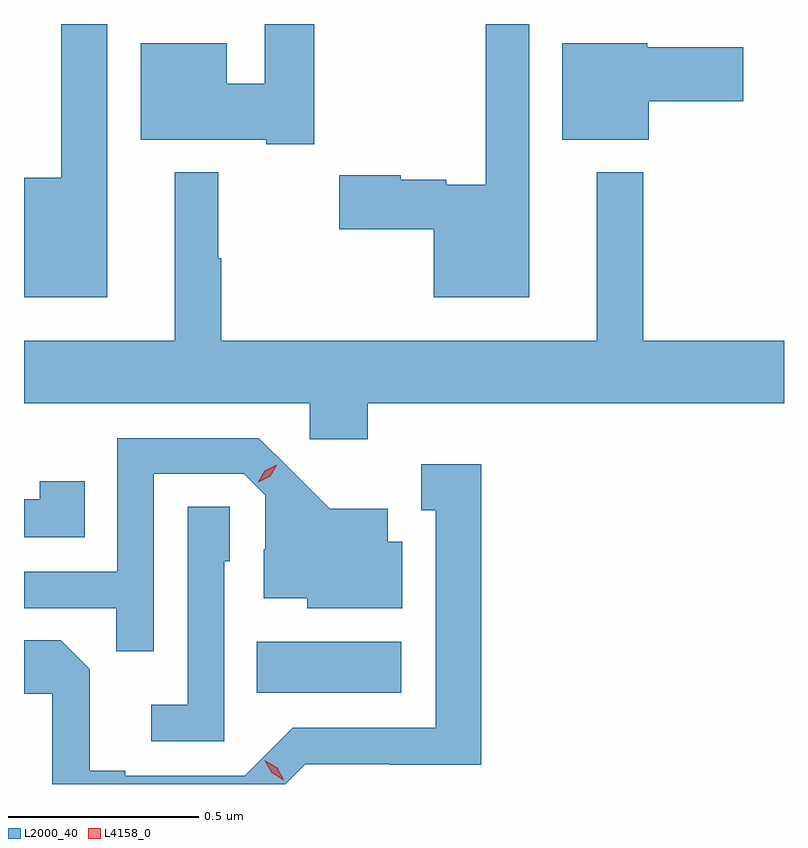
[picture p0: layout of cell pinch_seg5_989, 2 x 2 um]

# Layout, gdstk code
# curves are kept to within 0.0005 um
import gdstk
lib = gdstk.Library(unit=1e-6, precision=1e-09)
def R(c, l, rs):  # rectangles x0, y0, x1, y1
    for r in rs: c.add(gdstk.rectangle(r[:2], r[2:], *l))
def P(c, l, *ps):  # polygons
    for p in ps: c.add(gdstk.Polygon(p, *l))
L2000_40 = (2000, 40)
L4158_0 = (4158, 0)

pinch_seg5_989 = lib.new_cell('pinch_seg5_989')
R(pinch_seg5_989, L2000_40, [(699.472,913.274,699.853,913.408)])
P(pinch_seg5_989, L2000_40, [(699.079,915.034),(698.958,915.034),(698.958,914.63),(698.86,914.63),(698.86,914.315),(699.079,914.315)],
  [(699.624,915.034),(699.494,915.034),(699.494,914.877),(699.394,914.877),(699.394,914.983),(699.167,914.983),(699.167,914.729),(699.498,914.729),(699.498,914.717),(699.624,914.717)],
  [(700.189,915.034),(700.075,915.034),(700.075,914.611),(699.971,914.611),(699.971,914.624),(699.852,914.624),(699.852,914.636),(699.69,914.636),(699.69,914.494),(699.938,914.494),(699.938,914.315),(700.189,914.315)],
  [(700.504,914.831),(700.753,914.831),(700.753,914.973),(700.5,914.973),(700.5,914.983),(700.277,914.983),(700.277,914.729),(700.504,914.729)],
  [(699.764,914.036),(700.86,914.036),(700.86,914.2),(700.489,914.2),(700.489,914.644),(700.367,914.644),(700.367,914.2),(699.379,914.2),(699.379,914.417),(699.371,914.417),(699.371,914.644),(699.257,914.644),(699.257,914.2),(698.86,914.2),(698.86,914.036),(699.612,914.036),(699.612,913.941),(699.764,913.941)],
  [(699.201,913.851),(699.438,913.851),(699.495,913.794),(699.495,913.652),(699.491,913.652),(699.491,913.523),(699.606,913.523),(699.606,913.496),(699.856,913.496),(699.856,913.672),(699.817,913.672),(699.817,913.759),(699.665,913.759),(699.478,913.944),(699.105,913.944),(699.105,913.593),(698.86,913.593),(698.86,913.497),(699.103,913.497),(699.103,913.384),(699.201,913.384)],
  [(699.6,913.086),(699.822,913.086),(699.822,913.085),(700.063,913.085),(700.063,913.876),(699.905,913.876),(699.905,913.755),(699.944,913.755),(699.944,913.182),(699.567,913.182),(699.441,913.056),(699.127,913.056),(699.127,913.069),(699.033,913.069),(699.033,913.336),(698.957,913.412),(698.86,913.412),(698.86,913.272),(698.934,913.272),(698.934,913.034),(699.548,913.034)],
  [(699.02,913.831),(698.902,913.831),(698.902,913.784),(698.86,913.784),(698.86,913.683),(699.02,913.683)],
  [(699.387,913.62),(699.402,913.62),(699.402,913.763),(699.291,913.763),(699.291,913.243),(699.195,913.243),(699.195,913.146),(699.387,913.146)])
P(pinch_seg5_989, L4158_0, [(699.543,913.044),(699.512,913.063),(699.494,913.095),(699.494,913.096),(699.494,913.096),(699.526,913.077),(699.544,913.045),(699.544,913.044)],
  [(699.477,913.828),(699.477,913.829),(699.494,913.858),(699.525,913.874),(699.525,913.874),(699.525,913.873),(699.508,913.844),(699.477,913.828)])

lib.write_gds('pinch_seg5_989.gds')
